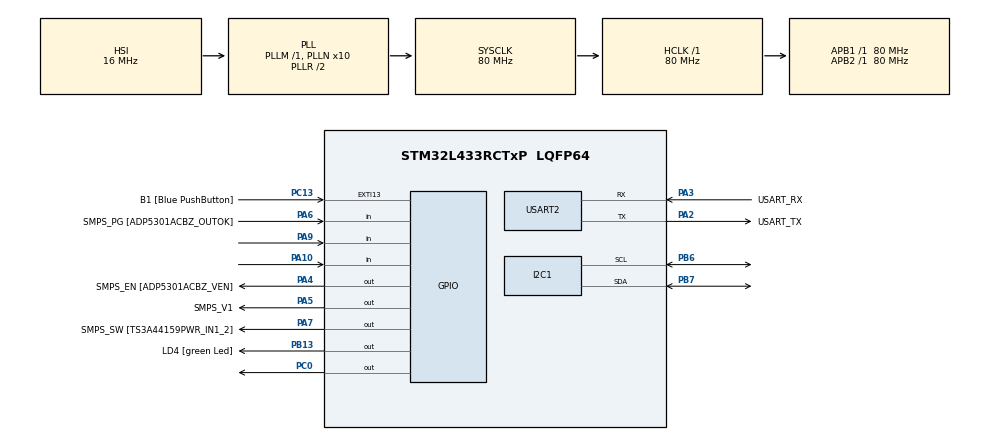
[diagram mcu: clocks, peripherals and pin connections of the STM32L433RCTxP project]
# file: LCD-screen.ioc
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I2C1.Timing=0x10D19CE4
Mcu.Family=STM32L4
Mcu.Name=STM32L433RCTxP
Mcu.Package=LQFP64
NVIC.EXTI15_10_IRQn=true\:0\:0\:false\:false\:true\:true\:true\:true
NVIC.PriorityGroup=NVIC_PRIORITYGROUP_4
NVIC.TIM6_DAC_IRQn=true\:0\:0\:false\:false\:true\:true\:true\:true
PA10.Signal=GPIO_Input
PA13\ (JTMS-SWDIO).GPIO_Label=TMS
PA13\ (JTMS-SWDIO).Mode=Serial_Wire
PA13\ (JTMS-SWDIO).Signal=SYS_JTMS-SWDIO
PA14\ (JTCK-SWCLK).GPIO_Label=TCK
PA14\ (JTCK-SWCLK).Mode=Serial_Wire
PA14\ (JTCK-SWCLK).Signal=SYS_JTCK-SWCLK
PA2.GPIO_Label=USART_TX
PA2.GPIO_Mode=GPIO_MODE_AF_PP
PA2.GPIO_PuPd=GPIO_NOPULL
PA2.GPIO_Speed=GPIO_SPEED_FREQ_VERY_HIGH
PA2.Mode=Asynchronous
PA2.Signal=USART2_TX
PA3.GPIO_Label=USART_RX
PA3.GPIO_Mode=GPIO_MODE_AF_PP
PA3.GPIO_PuPd=GPIO_NOPULL
PA3.GPIO_Speed=GPIO_SPEED_FREQ_VERY_HIGH
PA3.Mode=Asynchronous
PA3.Signal=USART2_RX
PA4.GPIO_Label=SMPS_EN [ADP5301ACBZ_VEN]
PA4.Signal=GPIO_Output
PA5.GPIO_Label=SMPS_V1
PA5.GPIO_ModeDefaultOutputPP=GPIO_MODE_OUTPUT_PP
PA5.GPIO_PuPd=GPIO_NOPULL
PA5.GPIO_Speed=GPIO_SPEED_FREQ_LOW
PA5.Signal=GPIO_Output
PA6.GPIO_Label=SMPS_PG [ADP5301ACBZ_OUTOK]
PA6.GPIO_PuPd=GPIO_PULLUP
PA6.Signal=GPIO_Input
PA7.GPIO_Label=SMPS_SW [TS3A44159PWR_IN1_2]
PA7.Signal=GPIO_Output
PA9.Signal=GPIO_Input
PB13.GPIO_Label=LD4 [green Led]
PB13.Signal=GPIO_Output
PB3\ (JTDO-TRACESWO).GPIO_Label=SWO
PB3\ (JTDO-TRACESWO).Signal=SYS_JTDO-SWO
PB6.Mode=I2C
PB6.Signal=I2C1_SCL
PB7.Mode=I2C
PB7.Signal=I2C1_SDA
PC0.Signal=GPIO_Output
PC13.GPIO_Label=B1 [Blue PushButton]
PC13.GPIO_ModeDefaultEXTI=GPIO_MODE_IT_FALLING
PC13.GPIO_PuPd=GPIO_NOPULL
PC13.Signal=GPXTI13
PC14-OSC32_IN\ (PC14).Mode=LSE-External-Oscillator
PC14-OSC32_IN\ (PC14).Signal=RCC_OSC32_IN
PC15-OSC32_OUT\ (PC15).Mode=LSE-External-Oscillator
PC15-OSC32_OUT\ (PC15).Signal=RCC_OSC32_OUT
PH0-OSC_IN\ (PH0).GPIO_Label=MCO
PH0-OSC_IN\ (PH0).Mode=HSE-External-Clock-Source
PH0-OSC_IN\ (PH0).Signal=RCC_OSC_IN
PH1-OSC_OUT\ (PH1).Signal=RCC_OSC_OUT
ProjectManager.HeapSize=0x200
ProjectManager.StackSize=0x400
ProjectManager.TargetToolchain=STM32CubeIDE
RCC.ADCFreq_Value=64000000
RCC.AHBFreq_Value=80000000
RCC.APB1Freq_Value=80000000
RCC.APB1TimFreq_Value=80000000
RCC.APB2Freq_Value=80000000
RCC.APB2TimFreq_Value=80000000
RCC.CortexFreq_Value=80000000
RCC.HCLKFreq_Value=80000000
RCC.HSE_VALUE=8000000
RCC.HSI48_VALUE=48000000
RCC.HSI_VALUE=16000000
RCC.MSI_VALUE=4000000
RCC.PLLN=10
RCC.PLLSourceVirtual=RCC_PLLSOURCE_HSI
RCC.PREFETCH_ENABLE=1
RCC.SYSCLKFreq_VALUE=80000000
RCC.SYSCLKSource=RCC_SYSCLKSOURCE_PLLCLK
RCC.USBFreq_Value=64000000
RCC.VCOOutputFreq_Value=160000000
TIM6.Period=2000
TIM6.Prescaler=20000
USART2.VirtualMode-Asynchronous=VM_ASYNC
VP_TIM2_VS_ClockSourceINT.Mode=Internal
VP_TIM6_VS_ClockSourceINT.Mode=Enable_Timer
board=NUCLEO-L433RC-P

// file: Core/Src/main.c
/* USER CODE BEGIN Header */
/**
  ******************************************************************************
  * @file           : main.c
  * @brief          : Main program body
  ******************************************************************************
  * @attention
  *
  * Copyright (c) 2026 STMicroelectronics.
  * All rights reserved.
  *
  * This software is licensed under terms that can be found in the LICENSE file
  * in the root directory of this software component.
  * If no LICENSE file comes with this software, it is provided AS-IS.
  *
  ******************************************************************************
  */
/* USER CODE END Header */
#include "main.h"

/* USER CODE BEGIN Includes */
#include "clock.h"
#include "button.h"
#include "lcd.h"
#include <stdlib.h>
#include <stdio.h>
#include <stdint.h>
#include <stdbool.h>

/* USER CODE END Includes */

I2C_HandleTypeDef hi2c1;

TIM_HandleTypeDef htim2;
TIM_HandleTypeDef htim6;

UART_HandleTypeDef huart2;

/* USER CODE BEGIN PV */
TextLCDType lcd;
volatile bool cooldown = false;
/* USER CODE END PV */

void SystemClock_Config(void);
static void MX_GPIO_Init(void);
static void MX_USART2_UART_Init(void);
static void MX_TIM6_Init(void);
static void MX_I2C1_Init(void);
static void MX_TIM2_Init(void);

/* USER CODE BEGIN 0 */
struct clock_data my_clock; // reserves the memory needed

/* USER CODE END 0 */

int main(void)
{

  /* MCU Configuration--------------------------------------------------------*/

  /* Reset of all peripherals, Initializes the Flash interface and the Systick. */
  HAL_Init();

  /* Configure the system clock */
  SystemClock_Config();

  /* Initialize all configured peripherals */
  MX_GPIO_Init();
  MX_USART2_UART_Init();
  MX_TIM6_Init();
  MX_I2C1_Init();
  MX_TIM2_Init();
  /* USER CODE BEGIN 2 */
  TextLCD_Init(&lcd, &hi2c1, 0x4E);
  cd_set(&my_clock, 23, 59, 59);

	HAL_TIM_Base_Start_IT(&htim6);

	TextLCD_Clear(&lcd);
	TextLCD_Position(&lcd, 0, 0);

  /* USER CODE END 2 */

  /* Infinite loop */
  while (1)
  {

    /* USER CODE BEGIN 3 */
	  char buffer[9];

	  sprintf(buffer,"%02d:%02d:%02d", my_clock.hours,  my_clock.minutes,  my_clock.seconds);
	  TextLCD_Position(&lcd, 8, 1);
	  TextLCD_PutStr(&lcd, buffer);
  }
  /* USER CODE END 3 */
}

void SystemClock_Config(void)
{
  RCC_OscInitTypeDef RCC_OscInitStruct = {0};
  RCC_ClkInitTypeDef RCC_ClkInitStruct = {0};

  /** Configure the main internal regulator output voltage
  */
  if (HAL_PWREx_ControlVoltageScaling(PWR_REGULATOR_VOLTAGE_SCALE1) != HAL_OK)
  {
    Error_Handler();
  }

  /** Initializes the RCC Oscillators according to the specified parameters
  * in the RCC_OscInitTypeDef structure.
  */
  RCC_OscInitStruct.OscillatorType = RCC_OSCILLATORTYPE_HSI;
  RCC_OscInitStruct.HSIState = RCC_HSI_ON;
  RCC_OscInitStruct.HSICalibrationValue = RCC_HSICALIBRATION_DEFAULT;
  RCC_OscInitStruct.PLL.PLLState = RCC_PLL_ON;
  RCC_OscInitStruct.PLL.PLLSource = RCC_PLLSOURCE_HSI;
  RCC_OscInitStruct.PLL.PLLM = 1;
  RCC_OscInitStruct.PLL.PLLN = 10;
  RCC_OscInitStruct.PLL.PLLP = RCC_PLLP_DIV7;
  RCC_OscInitStruct.PLL.PLLQ = RCC_PLLQ_DIV2;
  RCC_OscInitStruct.PLL.PLLR = RCC_PLLR_DIV2;
  if (HAL_RCC_OscConfig(&RCC_OscInitStruct) != HAL_OK)
  {
    Error_Handler();
  }

  /** Initializes the CPU, AHB and APB buses clocks
  */
  RCC_ClkInitStruct.ClockType = RCC_CLOCKTYPE_HCLK|RCC_CLOCKTYPE_SYSCLK
                              |RCC_CLOCKTYPE_PCLK1|RCC_CLOCKTYPE_PCLK2;
  RCC_ClkInitStruct.SYSCLKSource = RCC_SYSCLKSOURCE_PLLCLK;
  RCC_ClkInitStruct.AHBCLKDivider = RCC_SYSCLK_DIV1;
  RCC_ClkInitStruct.APB1CLKDivider = RCC_HCLK_DIV1;
  RCC_ClkInitStruct.APB2CLKDivider = RCC_HCLK_DIV1;

  if (HAL_RCC_ClockConfig(&RCC_ClkInitStruct, FLASH_LATENCY_4) != HAL_OK)
  {
    Error_Handler();
  }
}

static void MX_I2C1_Init(void)
{

  hi2c1.Instance = I2C1;
  hi2c1.Init.Timing = 0x10D19CE4;
  hi2c1.Init.OwnAddress1 = 0;
  hi2c1.Init.AddressingMode = I2C_ADDRESSINGMODE_7BIT;
  hi2c1.Init.DualAddressMode = I2C_DUALADDRESS_DISABLE;
  hi2c1.Init.OwnAddress2 = 0;
  hi2c1.Init.OwnAddress2Masks = I2C_OA2_NOMASK;
  hi2c1.Init.GeneralCallMode = I2C_GENERALCALL_DISABLE;
  hi2c1.Init.NoStretchMode = I2C_NOSTRETCH_DISABLE;
  if (HAL_I2C_Init(&hi2c1) != HAL_OK)
  {
    Error_Handler();
  }

  /** Configure Analogue filter
  */
  if (HAL_I2CEx_ConfigAnalogFilter(&hi2c1, I2C_ANALOGFILTER_ENABLE) != HAL_OK)
  {
    Error_Handler();
  }

  /** Configure Digital filter
  */
  if (HAL_I2CEx_ConfigDigitalFilter(&hi2c1, 0) != HAL_OK)
  {
    Error_Handler();
  }

}

static void MX_TIM2_Init(void)
{

  TIM_ClockConfigTypeDef sClockSourceConfig = {0};
  TIM_MasterConfigTypeDef sMasterConfig = {0};

  htim2.Instance = TIM2;
  htim2.Init.Prescaler = 0;
  htim2.Init.CounterMode = TIM_COUNTERMODE_UP;
  htim2.Init.Period = 4294967295;
  htim2.Init.ClockDivision = TIM_CLOCKDIVISION_DIV1;
  htim2.Init.AutoReloadPreload = TIM_AUTORELOAD_PRELOAD_DISABLE;
  if (HAL_TIM_Base_Init(&htim2) != HAL_OK)
  {
    Error_Handler();
  }
  sClockSourceConfig.ClockSource = TIM_CLOCKSOURCE_INTERNAL;
  if (HAL_TIM_ConfigClockSource(&htim2, &sClockSourceConfig) != HAL_OK)
  {
    Error_Handler();
  }
  sMasterConfig.MasterOutputTrigger = TIM_TRGO_RESET;
  sMasterConfig.MasterSlaveMode = TIM_MASTERSLAVEMODE_DISABLE;
  if (HAL_TIMEx_MasterConfigSynchronization(&htim2, &sMasterConfig) != HAL_OK)
  {
    Error_Handler();
  }

}

static void MX_TIM6_Init(void)
{

  TIM_MasterConfigTypeDef sMasterConfig = {0};

  htim6.Instance = TIM6;
  htim6.Init.Prescaler = 20000;
  htim6.Init.CounterMode = TIM_COUNTERMODE_UP;
  htim6.Init.Period = 2000;
  htim6.Init.AutoReloadPreload = TIM_AUTORELOAD_PRELOAD_DISABLE;
  if (HAL_TIM_Base_Init(&htim6) != HAL_OK)
  {
    Error_Handler();
  }
  sMasterConfig.MasterOutputTrigger = TIM_TRGO_RESET;
  sMasterConfig.MasterSlaveMode = TIM_MASTERSLAVEMODE_DISABLE;
  if (HAL_TIMEx_MasterConfigSynchronization(&htim6, &sMasterConfig) != HAL_OK)
  {
    Error_Handler();
  }

}

static void MX_USART2_UART_Init(void)
{

  huart2.Instance = USART2;
  huart2.Init.BaudRate = 115200;
  huart2.Init.WordLength = UART_WORDLENGTH_8B;
  huart2.Init.StopBits = UART_STOPBITS_1;
  huart2.Init.Parity = UART_PARITY_NONE;
  huart2.Init.Mode = UART_MODE_TX_RX;
  huart2.Init.HwFlowCtl = UART_HWCONTROL_NONE;
  huart2.Init.OverSampling = UART_OVERSAMPLING_16;
  huart2.Init.OneBitSampling = UART_ONE_BIT_SAMPLE_DISABLE;
  huart2.AdvancedInit.AdvFeatureInit = UART_ADVFEATURE_NO_INIT;
  if (HAL_UART_Init(&huart2) != HAL_OK)
  {
    Error_Handler();
  }

}

static void MX_GPIO_Init(void)
{
  GPIO_InitTypeDef GPIO_InitStruct = {0};

  /* GPIO Ports Clock Enable */
  __HAL_RCC_GPIOC_CLK_ENABLE();
  __HAL_RCC_GPIOH_CLK_ENABLE();
  __HAL_RCC_GPIOA_CLK_ENABLE();
  __HAL_RCC_GPIOB_CLK_ENABLE();

  /*Configure GPIO pin Output Level */
  HAL_GPIO_WritePin(GPIOC, GPIO_PIN_0, GPIO_PIN_RESET);

  /*Configure GPIO pin Output Level */
  HAL_GPIO_WritePin(GPIOA, SMPS_EN_Pin|SMPS_V1_Pin|SMPS_SW_Pin, GPIO_PIN_RESET);

  /*Configure GPIO pin Output Level */
  HAL_GPIO_WritePin(LD4_GPIO_Port, LD4_Pin, GPIO_PIN_RESET);

  /*Configure GPIO pin : B1_Pin */
  GPIO_InitStruct.Pin = B1_Pin;
  GPIO_InitStruct.Mode = GPIO_MODE_IT_FALLING;
  GPIO_InitStruct.Pull = GPIO_NOPULL;
  HAL_GPIO_Init(B1_GPIO_Port, &GPIO_InitStruct);

  /*Configure GPIO pin : PC0 */
  GPIO_InitStruct.Pin = GPIO_PIN_0;
  GPIO_InitStruct.Mode = GPIO_MODE_OUTPUT_PP;
  GPIO_InitStruct.Pull = GPIO_NOPULL;
  GPIO_InitStruct.Speed = GPIO_SPEED_FREQ_LOW;
  HAL_GPIO_Init(GPIOC, &GPIO_InitStruct);

  /*Configure GPIO pins : SMPS_EN_Pin SMPS_V1_Pin SMPS_SW_Pin */
  GPIO_InitStruct.Pin = SMPS_EN_Pin|SMPS_V1_Pin|SMPS_SW_Pin;
  GPIO_InitStruct.Mode = GPIO_MODE_OUTPUT_PP;
  GPIO_InitStruct.Pull = GPIO_NOPULL;
  GPIO_InitStruct.Speed = GPIO_SPEED_FREQ_LOW;
  HAL_GPIO_Init(GPIOA, &GPIO_InitStruct);

  /*Configure GPIO pin : SMPS_PG_Pin */
  GPIO_InitStruct.Pin = SMPS_PG_Pin;
  GPIO_InitStruct.Mode = GPIO_MODE_INPUT;
  GPIO_InitStruct.Pull = GPIO_PULLUP;
  HAL_GPIO_Init(SMPS_PG_GPIO_Port, &GPIO_InitStruct);

  /*Configure GPIO pin : LD4_Pin */
  GPIO_InitStruct.Pin = LD4_Pin;
  GPIO_InitStruct.Mode = GPIO_MODE_OUTPUT_PP;
  GPIO_InitStruct.Pull = GPIO_NOPULL;
  GPIO_InitStruct.Speed = GPIO_SPEED_FREQ_LOW;
  HAL_GPIO_Init(LD4_GPIO_Port, &GPIO_InitStruct);

  /*Configure GPIO pins : PA9 PA10 */
  GPIO_InitStruct.Pin = GPIO_PIN_9|GPIO_PIN_10;
  GPIO_InitStruct.Mode = GPIO_MODE_INPUT;
  GPIO_InitStruct.Pull = GPIO_NOPULL;
  HAL_GPIO_Init(GPIOA, &GPIO_InitStruct);

  /* EXTI interrupt init*/
  HAL_NVIC_SetPriority(EXTI15_10_IRQn, 0, 0);
  HAL_NVIC_EnableIRQ(EXTI15_10_IRQn);

}

void Error_Handler(void)
{
  __disable_irq();
  while (1)
  {
  }
}
